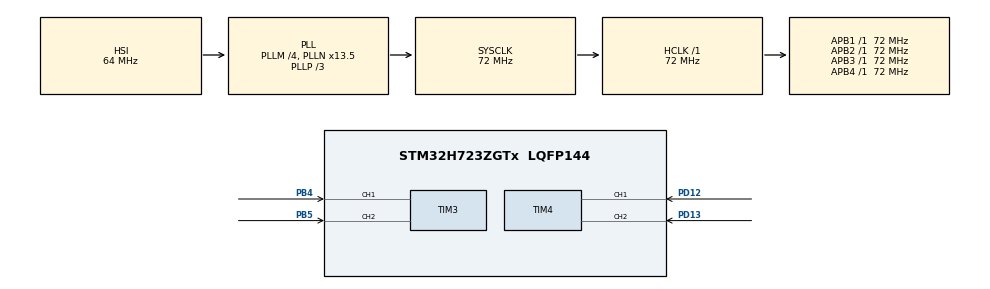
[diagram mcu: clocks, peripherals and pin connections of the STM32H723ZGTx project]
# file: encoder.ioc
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Mcu.Family=STM32H7
Mcu.Name=STM32H723ZGTx
Mcu.Package=LQFP144
NVIC.PriorityGroup=NVIC_PRIORITYGROUP_4
NVIC.TIM3_IRQn=true\:0\:0\:false\:false\:true\:true\:true\:true
NVIC.TIM4_IRQn=true\:0\:0\:false\:false\:true\:true\:true\:true
PA13(JTMS/SWDIO).Mode=Serial_Wire
PA13(JTMS/SWDIO).Signal=DEBUG_JTMS-SWDIO
PA14(JTCK/SWCLK).Mode=Serial_Wire
PA14(JTCK/SWCLK).Signal=DEBUG_JTCK-SWCLK
PB4(NJTRST).Signal=S_TIM3_CH1
PB5.Signal=S_TIM3_CH2
PD12.Signal=S_TIM4_CH1
PD13.Signal=S_TIM4_CH2
PH0-OSC_IN.Mode=HSE-External-Oscillator
PH0-OSC_IN.Signal=RCC_OSC_IN
PH1-OSC_OUT.Mode=HSE-External-Oscillator
PH1-OSC_OUT.Signal=RCC_OSC_OUT
ProjectManager.HeapSize=0x200
ProjectManager.StackSize=0x400
ProjectManager.TargetToolchain=STM32CubeIDE
RCC.ADCFreq_Value=129000000
RCC.APB1Freq_Value=72000000
RCC.APB2Freq_Value=72000000
RCC.APB3Freq_Value=72000000
RCC.APB4Freq_Value=72000000
RCC.CortexFreq_Value=72000000
RCC.DIVM1=4
RCC.DIVN1=13
RCC.DIVP1=3
RCC.HCLKFreq_Value=72000000
RCC.PLL2FRACN=0
RCC.PLL3FRACN=0
RCC.PLLFRACN=4096
RCC.SYSCLKFreq_VALUE=72000000
RCC.SYSCLKSource=RCC_SYSCLKSOURCE_PLLCLK
RCC.USBFreq_Value=108000000
SH.S_TIM3_CH1.0=TIM3_CH1,Encoder_Interface
SH.S_TIM3_CH2.0=TIM3_CH2,Encoder_Interface
SH.S_TIM4_CH1.0=TIM4_CH1,Encoder_Interface
SH.S_TIM4_CH2.0=TIM4_CH2,Encoder_Interface
TIM3.EncoderMode=TIM_ENCODERMODE_TI12
TIM3.IC1Polarity=TIM_ICPOLARITY_FALLING
TIM3.IC2Polarity=TIM_ICPOLARITY_FALLING
TIM4.EncoderMode=TIM_ENCODERMODE_TI12
TIM4.IC1Polarity=TIM_ICPOLARITY_FALLING
TIM4.IC2Polarity=TIM_ICPOLARITY_FALLING
board=custom

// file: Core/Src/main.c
/* USER CODE BEGIN Header */
/**
  ******************************************************************************
  * @file           : main.c
  * @brief          : Main program body
  ******************************************************************************
  * @attention
  *
  * Copyright (c) 2024 STMicroelectronics.
  * All rights reserved.
  *
  * This software is licensed under terms that can be found in the LICENSE file
  * in the root directory of this software component.
  * If no LICENSE file comes with this software, it is provided AS-IS.
  *
  ******************************************************************************
  */
/* USER CODE END Header */
#include "main.h"

TIM_HandleTypeDef htim3;
TIM_HandleTypeDef htim4;

void SystemClock_Config(void);
static void MX_GPIO_Init(void);
static void MX_TIM4_Init(void);
static void MX_TIM3_Init(void);

/* USER CODE BEGIN 0 */

uint32_t counter_tim3 = 0;
uint32_t counter_tim4 = 0;

int16_t count_tim3 = 0;
int16_t count_tim4 = 0;

int16_t position_tim3 = 0;
int16_t position_tim4 = 0;

int speed3 =0;
int speed4 =0;
void HAL_TIM_IC_CaptureCallback(TIM_HandleTypeDef *htim)
{
	   if (htim == &htim3) {
	        counter_tim3 = __HAL_TIM_GET_COUNTER(htim);
	        count_tim3 = (int16_t)counter_tim3;
	        position_tim3 = count_tim3 / 4;
	    }

	   if (htim == &htim4) {
	        counter_tim4 = __HAL_TIM_GET_COUNTER(htim);
	        count_tim4 = (int16_t)counter_tim4;
	        position_tim4 = count_tim4 / 4;
	    }
}
/* USER CODE END 0 */

int main(void)
{

  /* MCU Configuration--------------------------------------------------------*/

  /* Reset of all peripherals, Initializes the Flash interface and the Systick. */
  HAL_Init();

  /* Configure the system clock */
  SystemClock_Config();

  /* Initialize all configured peripherals */
  MX_GPIO_Init();
  MX_TIM4_Init();
  MX_TIM3_Init();
  /* USER CODE BEGIN 2 */
  HAL_TIM_Encoder_Start_IT(&htim3, TIM_CHANNEL_ALL);
  HAL_TIM_Encoder_Start_IT(&htim4, TIM_CHANNEL_ALL);

  /* USER CODE END 2 */

  /* Infinite loop */
  while (1)
  {

  }
}

void SystemClock_Config(void)
{
  RCC_OscInitTypeDef RCC_OscInitStruct = {0};
  RCC_ClkInitTypeDef RCC_ClkInitStruct = {0};

  /** Supply configuration update enable
  */
  HAL_PWREx_ConfigSupply(PWR_LDO_SUPPLY);

  /** Configure the main internal regulator output voltage
  */
  __HAL_PWR_VOLTAGESCALING_CONFIG(PWR_REGULATOR_VOLTAGE_SCALE3);

  while(!__HAL_PWR_GET_FLAG(PWR_FLAG_VOSRDY)) {}

  /** Initializes the RCC Oscillators according to the specified parameters
  * in the RCC_OscInitTypeDef structure.
  */
  RCC_OscInitStruct.OscillatorType = RCC_OSCILLATORTYPE_HSI;
  RCC_OscInitStruct.HSIState = RCC_HSI_DIV1;
  RCC_OscInitStruct.HSICalibrationValue = 64;
  RCC_OscInitStruct.PLL.PLLState = RCC_PLL_ON;
  RCC_OscInitStruct.PLL.PLLSource = RCC_PLLSOURCE_HSI;
  RCC_OscInitStruct.PLL.PLLM = 4;
  RCC_OscInitStruct.PLL.PLLN = 13;
  RCC_OscInitStruct.PLL.PLLP = 3;
  RCC_OscInitStruct.PLL.PLLQ = 2;
  RCC_OscInitStruct.PLL.PLLR = 2;
  RCC_OscInitStruct.PLL.PLLRGE = RCC_PLL1VCIRANGE_3;
  RCC_OscInitStruct.PLL.PLLVCOSEL = RCC_PLL1VCOWIDE;
  RCC_OscInitStruct.PLL.PLLFRACN = 4096;
  if (HAL_RCC_OscConfig(&RCC_OscInitStruct) != HAL_OK)
  {
    Error_Handler();
  }

  /** Initializes the CPU, AHB and APB buses clocks
  */
  RCC_ClkInitStruct.ClockType = RCC_CLOCKTYPE_HCLK|RCC_CLOCKTYPE_SYSCLK
                              |RCC_CLOCKTYPE_PCLK1|RCC_CLOCKTYPE_PCLK2
                              |RCC_CLOCKTYPE_D3PCLK1|RCC_CLOCKTYPE_D1PCLK1;
  RCC_ClkInitStruct.SYSCLKSource = RCC_SYSCLKSOURCE_PLLCLK;
  RCC_ClkInitStruct.SYSCLKDivider = RCC_SYSCLK_DIV1;
  RCC_ClkInitStruct.AHBCLKDivider = RCC_HCLK_DIV1;
  RCC_ClkInitStruct.APB3CLKDivider = RCC_APB3_DIV1;
  RCC_ClkInitStruct.APB1CLKDivider = RCC_APB1_DIV1;
  RCC_ClkInitStruct.APB2CLKDivider = RCC_APB2_DIV1;
  RCC_ClkInitStruct.APB4CLKDivider = RCC_APB4_DIV1;

  if (HAL_RCC_ClockConfig(&RCC_ClkInitStruct, FLASH_LATENCY_2) != HAL_OK)
  {
    Error_Handler();
  }
}

static void MX_TIM3_Init(void)
{

  TIM_Encoder_InitTypeDef sConfig = {0};
  TIM_MasterConfigTypeDef sMasterConfig = {0};

  htim3.Instance = TIM3;
  htim3.Init.Prescaler = 0;
  htim3.Init.CounterMode = TIM_COUNTERMODE_UP;
  htim3.Init.Period = 65535;
  htim3.Init.ClockDivision = TIM_CLOCKDIVISION_DIV1;
  htim3.Init.AutoReloadPreload = TIM_AUTORELOAD_PRELOAD_DISABLE;
  sConfig.EncoderMode = TIM_ENCODERMODE_TI12;
  sConfig.IC1Polarity = TIM_ICPOLARITY_FALLING;
  sConfig.IC1Selection = TIM_ICSELECTION_DIRECTTI;
  sConfig.IC1Prescaler = TIM_ICPSC_DIV1;
  sConfig.IC1Filter = 0;
  sConfig.IC2Polarity = TIM_ICPOLARITY_FALLING;
  sConfig.IC2Selection = TIM_ICSELECTION_DIRECTTI;
  sConfig.IC2Prescaler = TIM_ICPSC_DIV1;
  sConfig.IC2Filter = 0;
  if (HAL_TIM_Encoder_Init(&htim3, &sConfig) != HAL_OK)
  {
    Error_Handler();
  }
  sMasterConfig.MasterOutputTrigger = TIM_TRGO_RESET;
  sMasterConfig.MasterSlaveMode = TIM_MASTERSLAVEMODE_DISABLE;
  if (HAL_TIMEx_MasterConfigSynchronization(&htim3, &sMasterConfig) != HAL_OK)
  {
    Error_Handler();
  }

}

static void MX_TIM4_Init(void)
{

  TIM_Encoder_InitTypeDef sConfig = {0};
  TIM_MasterConfigTypeDef sMasterConfig = {0};

  htim4.Instance = TIM4;
  htim4.Init.Prescaler = 0;
  htim4.Init.CounterMode = TIM_COUNTERMODE_UP;
  htim4.Init.Period = 65535;
  htim4.Init.ClockDivision = TIM_CLOCKDIVISION_DIV1;
  htim4.Init.AutoReloadPreload = TIM_AUTORELOAD_PRELOAD_DISABLE;
  sConfig.EncoderMode = TIM_ENCODERMODE_TI12;
  sConfig.IC1Polarity = TIM_ICPOLARITY_FALLING;
  sConfig.IC1Selection = TIM_ICSELECTION_DIRECTTI;
  sConfig.IC1Prescaler = TIM_ICPSC_DIV1;
  sConfig.IC1Filter = 0;
  sConfig.IC2Polarity = TIM_ICPOLARITY_FALLING;
  sConfig.IC2Selection = TIM_ICSELECTION_DIRECTTI;
  sConfig.IC2Prescaler = TIM_ICPSC_DIV1;
  sConfig.IC2Filter = 0;
  if (HAL_TIM_Encoder_Init(&htim4, &sConfig) != HAL_OK)
  {
    Error_Handler();
  }
  sMasterConfig.MasterOutputTrigger = TIM_TRGO_RESET;
  sMasterConfig.MasterSlaveMode = TIM_MASTERSLAVEMODE_DISABLE;
  if (HAL_TIMEx_MasterConfigSynchronization(&htim4, &sMasterConfig) != HAL_OK)
  {
    Error_Handler();
  }

}

static void MX_GPIO_Init(void)
{

  /* GPIO Ports Clock Enable */
  __HAL_RCC_GPIOH_CLK_ENABLE();
  __HAL_RCC_GPIOD_CLK_ENABLE();
  __HAL_RCC_GPIOA_CLK_ENABLE();
  __HAL_RCC_GPIOB_CLK_ENABLE();

}

void Error_Handler(void)
{
  __disable_irq();
  while (1)
  {
  }
}
